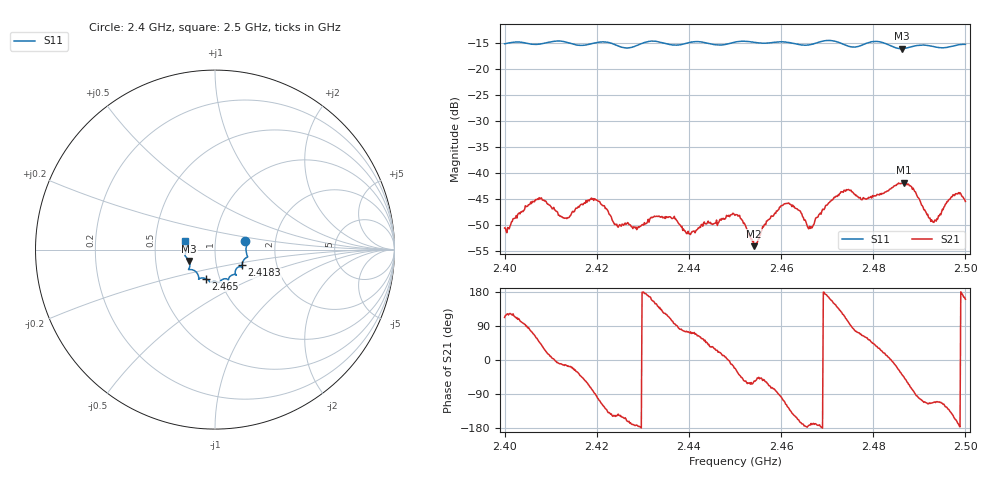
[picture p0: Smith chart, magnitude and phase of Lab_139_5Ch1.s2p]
# Hz S RI R 50
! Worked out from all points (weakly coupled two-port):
!   601 points, 2.4 GHz to 2.5 GHz, reference 50 ohm
!   highest |S21| = -41.88 dB at 2.4867 GHz (marker M1); lowest = -54.1 dB at 2.4542 GHz (marker M2)
!   lowest |S11| = -16.1 dB at 2.4862 GHz (marker M3), VSWR 1.37, Z = 37.2 - j4.81 ohm
!   |S11| at or under -10 dB: start of sweep to end of sweep
!   S12 and S22 are empty: the file has one direction only
!   S11 on the Smith chart (normalised r, x): 2.4 GHz: 1.40, +0.14; 2.4183 GHz: 1.33, -0.24; 2.465 GHz: 0.86, -0.29; 2.5 GHz: 0.71, +0.07
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2.4e9  0.1688 0.0469  -0.00112 0.00272  0 0  0 0
2.407167e9  0.1732 -0.00557  0.00332 0.00453  0 0  0 0
2.413167e9  0.1774 -0.0436  0.00357 -0.000795  0 0  0 0
2.416667e9  0.1547 -0.0682  0.00358 -0.00346  0 0  0 0
2.418333e9  0.1502 -0.0867  0.00208 -0.00493  0 0  0 0
2.421167e9  0.1531 -0.1  -0.0022 -0.00435  0 0  0 0
2.424333e9  0.14 -0.095  -0.0027 -0.00172  0 0  0 0
2.433333e9  0.1176 -0.1408  -0.00295 0.00238  0 0  0 0
2.44e9  0.076 -0.1629  0.000757 0.00247  0 0  0 0
2.45e9  0.0261 -0.18  0.0036 -0.00146  0 0  0 0
2.454167e9  0.0134 -0.1805  0.00111 -0.00162  0 0  0 0
2.4605e9  -0.028 -0.181  -0.00144 -0.00471  0 0  0 0
2.465e9  -0.0525 -0.1616  -0.00347 -0.000363  0 0  0 0
2.466667e9  -0.0713 -0.1577  -0.00289 -0.00049  0 0  0 0
2.473333e9  -0.0915 -0.1489  -0.00335 0.00561  0 0  0 0
2.477833e9  -0.1311 -0.1116  0.00257 0.00517  0 0  0 0
2.483333e9  -0.1412 -0.0968  0.00667 0.000817  0 0  0 0
2.486167e9  -0.1439 -0.0631  0.00631 -0.00482  0 0  0 0
2.486667e9  -0.1469 -0.0578  0.00571 -0.00568  0 0  0 0
2.493e9  -0.1638 -0.0202  -0.00127 -0.00309  0 0  0 0
2.4975e9  -0.1648 0.0312  -0.00532 -0.00291  0 0  0 0
2.5e9  -0.1667 0.0466  -0.00498 0.00179  0 0  0 0
